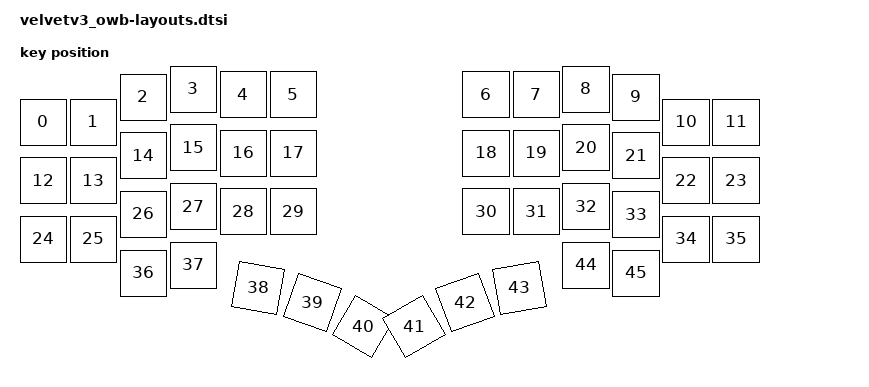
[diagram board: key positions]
#include <physical_layouts.dtsi>
/ {
    velvetv3_owb_layout: velvetv3_owb_layout {
        compatible = "zmk,physical-layout";
        display-name = "Velvet V3 OWB 46";
        transform = <&velvetv3_owb_transform>;
        keys =
              <&key_physical_attrs 100 100 0 70 0 50 120> // K1 C6L/R1L
            , <&key_physical_attrs 100 100 100 70 0 150 120> // K4 C5L/R1L
            , <&key_physical_attrs 100 100 200 20 0 250 70> // K8 C4L/R1L
            , <&key_physical_attrs 100 100 300 4 0 350 54> // K12 C3L/R1L
            , <&key_physical_attrs 100 100 400 15 0 450 65> // K16 C2L/R1L
            , <&key_physical_attrs 100 100 500 15 0 550 65> // K20 C1L/R1L
            , <&key_physical_attrs 100 100 886 15 0 936 65> // K24 C1R/R1R
            , <&key_physical_attrs 100 100 986 15 0 1036 65> // K28 C2R/R1R
            , <&key_physical_attrs 100 100 1086 4 0 1136 54> // K32 C3R/R1R
            , <&key_physical_attrs 100 100 1186 20 0 1236 70> // K36 C4R/R1R
            , <&key_physical_attrs 100 100 1286 70 0 1336 120> // K40 C5R/R1R
            , <&key_physical_attrs 100 100 1386 70 0 1436 120> // K44 C6R/R1R
            , <&key_physical_attrs 100 100 0 187 0 50 237> // K2 C6L/R2L
            , <&key_physical_attrs 100 100 100 187 0 150 237> // K5 C5L/R2L
            , <&key_physical_attrs 100 100 200 137 0 250 187> // K9 C4L/R2L
            , <&key_physical_attrs 100 100 300 121 0 350 171> // K13 C3L/R2L
            , <&key_physical_attrs 100 100 400 132 0 450 182> // K17 C2L/R2L
            , <&key_physical_attrs 100 100 500 132 0 550 182> // K21 C1L/R2L
            , <&key_physical_attrs 100 100 886 132 0 936 182> // K25 C1R/R2R
            , <&key_physical_attrs 100 100 986 132 0 1036 182> // K29 C2R/R2R
            , <&key_physical_attrs 100 100 1086 121 0 1136 171> // K33 C3R/R2R
            , <&key_physical_attrs 100 100 1186 137 0 1236 187> // K37 C4R/R2R
            , <&key_physical_attrs 100 100 1286 187 0 1336 237> // K41 C5R/R2R
            , <&key_physical_attrs 100 100 1386 187 0 1436 237> // K45 C6R/R2R
            , <&key_physical_attrs 100 100 0 304 0 50 354> // K3 C6L/R3L
            , <&key_physical_attrs 100 100 100 304 0 150 354> // K6 C5L/R3L
            , <&key_physical_attrs 100 100 200 254 0 250 304> // K10 C4L/R3L
            , <&key_physical_attrs 100 100 300 239 0 350 289> // K14 C3L/R3L
            , <&key_physical_attrs 100 100 400 249 0 450 299> // K18 C2L/R3L
            , <&key_physical_attrs 100 100 500 249 0 550 299> // K22 C1L/R3L
            , <&key_physical_attrs 100 100 886 249 0 936 299> // K26 C1R/R3R
            , <&key_physical_attrs 100 100 986 249 0 1036 299> // K30 C2R/R3R
            , <&key_physical_attrs 100 100 1086 239 0 1136 289> // K34 C3R/R3R
            , <&key_physical_attrs 100 100 1186 255 0 1236 305> // K38 C4R/R3R
            , <&key_physical_attrs 100 100 1286 304 0 1336 354> // K42 C5R/R3R
            , <&key_physical_attrs 100 100 1386 304 0 1436 354> // K46 C6R/R3R
            , <&key_physical_attrs 100 100 200 372 0 250 422> // K11 C4L/R4L
            , <&key_physical_attrs 100 100 300 356 0 350 406> // K15 C3L/R4L
            , <&key_physical_attrs 100 100 430 402 1000 480 452> // K19 C2L/R4L
            , <&key_physical_attrs 100 100 539 431 2000 589 481> // K23 C1L/R4L
            , <&key_physical_attrs 100 100 641 479 3000 691 529> // K7 C5L/R4L
            , <&key_physical_attrs 100 100 742 479 (-3000) 792 529> // K43 C5R/R4R
            , <&key_physical_attrs 100 100 844 431 (-2000) 894 481> // K27 C1R/R4R
            , <&key_physical_attrs 100 100 953 402 (-1000) 1003 452> // K31 C2R/R4R
            , <&key_physical_attrs 100 100 1086 356 0 1136 406> // K35 C3R/R4R
            , <&key_physical_attrs 100 100 1186 372 0 1236 422> // K39 C4R/R4R
        ;
    };
};
